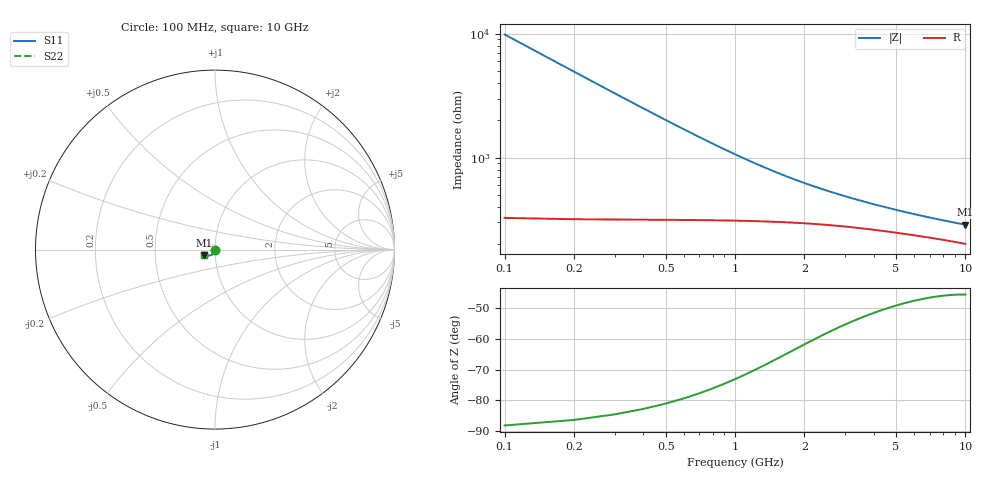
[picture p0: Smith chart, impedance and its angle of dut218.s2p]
! Touchstone file exported from HFSS 2024.1.0
!  File:  C:/UserFiles/LocalFiles/RDL_TSV_Batchsim/temp_TSV1_218_1778758316.aedt
!  Generated:  07:36:50 PM May 14, 2026
!  Design:  TSV1
!  Project:  temp_TSV1_218_1778758316
!  Setup:  Setup1
!  Solution:  Sweep
! Variables:
!  dtsv = 21.63um
!  hbump = 3um
!  htsv = 61.52um
!  lrdl = 252.1521522um
!  p = 40
!  p1 = 58.99um
!  t = 500um
!  trdl = 3um
!  wrdl = 24.89489489um
# GHz S MA R 50.000000
! Terminal data exported
! Port[1] = TSV22_T1
! Port[2] = TSV22_T2
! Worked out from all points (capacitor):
!   100 points, 100 MHz to 10 GHz, reference 50 ohm
!   read as one part in shunt: C = 161 fF near 100 MHz
!   lowest |Z| = 287 ohm at 10 GHz (marker M1)
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0.1  0.002247 -90.6  0.9998 -0.2  0.9998 -0.2  0.002247 -90.6
! Gamma 0 0 0 0
! Port Impedance 50 0 50 0
0.2  0.004481 -93.4  0.9996 -0.3  0.9996 -0.3  0.004481 -93.4
0.3  0.006692 -95.8  0.9992 -0.5  0.9992 -0.5  0.006692 -95.8
0.4  0.008868 -98.0  0.9986 -0.6  0.9986 -0.6  0.008868 -98.0
0.5  0.011 -100.1  0.9978 -0.8  0.9978 -0.8  0.011 -100.1
0.6  0.01308 -102.1  0.997 -0.9  0.997 -0.9  0.01308 -102.1
0.7  0.0151 -104.1  0.996 -1.1  0.996 -1.1  0.0151 -104.1
0.8  0.01706 -106.0  0.995 -1.2  0.995 -1.2  0.01706 -106.0
0.9  0.01894 -107.8  0.9939 -1.3  0.9939 -1.3  0.01894 -107.8
1.1  0.02249 -111.3  0.9915 -1.5  0.9915 -1.5  0.02249 -111.3
1.4  0.02726 -116.0  0.9877 -1.8  0.9877 -1.8  0.02726 -116.0
1.6  0.03008 -118.8  0.9853 -2.0  0.9853 -2.0  0.03008 -118.8
1.8  0.03263 -121.3  0.9829 -2.1  0.9829 -2.1  0.03263 -121.3
2.1  0.03604 -124.6  0.9795 -2.3  0.9795 -2.3  0.03604 -124.6
2.5  0.0399 -128.4  0.9753 -2.5  0.9753 -2.5  0.0399 -128.4
2.9  0.04317 -131.5  0.9716 -2.7  0.9716 -2.7  0.04317 -131.5
3.4  0.04662 -134.6  0.9675 -2.9  0.9675 -2.9  0.04662 -134.6
4.2  0.05113 -138.5  0.962 -3.2  0.962 -3.2  0.05113 -138.5
5.1  0.05519 -141.9  0.9569 -3.5  0.9569 -3.5  0.05519 -141.9
6.7  0.06064 -146.2  0.95 -3.9  0.95 -3.9  0.06064 -146.2
8.4  0.06474 -149.5  0.9448 -4.3  0.9448 -4.3  0.06474 -149.5
10  0.06749 -151.7  0.9411 -4.8  0.9411 -4.8  0.06749 -151.7
